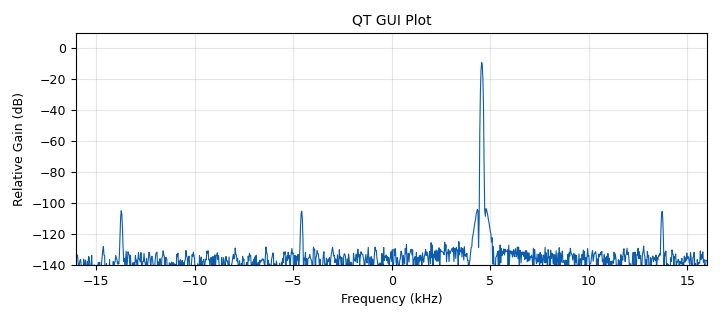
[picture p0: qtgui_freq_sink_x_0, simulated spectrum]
options:
  parameters:
    author: mettus
    category: Custom
    generate_options: qt_gui
    id: demo_two_tone
    output_language: python
  states: {}

blocks:
- name: beta
  id: variable_qtgui_range
  parameters:
    gui_hint: 4,0,1,1
    label: k3 (IP3)
    orient: QtCore.Qt.Orientation.Horizontal
    start: '-.1'
    step: '0.001'
    stop: '0'
    value: '0'
  states: {}
- name: const_size
  id: variable
  parameters:
    value: '4'
  states: {}
- name: f1
  id: variable_qtgui_range
  parameters:
    gui_hint: 2,0,1,1
    label: f1
    orient: QtCore.Qt.Orientation.Horizontal
    start: '-samp_rate/2'
    step: '1'
    stop: samp_rate/2
    value: samp_rate/7.0
  states: {}
- name: f2
  id: variable_qtgui_range
  parameters:
    gui_hint: 2,1,1,1
    label: f2
    orient: QtCore.Qt.Orientation.Horizontal
    start: '-samp_rate/2'
    step: '1'
    stop: samp_rate/2
    value: samp_rate/9.0
  states: {}
- name: gamma
  id: variable_qtgui_range
  parameters:
    gui_hint: 4,1,1,1
    label: k2 (IP2)
    orient: QtCore.Qt.Orientation.Horizontal
    start: '-.1'
    step: '0.001'
    stop: '0'
    value: '0'
  states: {}
- name: i_ofs
  id: variable_qtgui_range
  parameters:
    gui_hint: 5,0,1,1
    label: I offset
    orient: QtCore.Qt.Orientation.Horizontal
    start: '-1'
    step: '0.001'
    stop: '1'
    value: '0'
  states: {}
- name: magbal
  id: variable_qtgui_range
  parameters:
    gui_hint: 3,0,1,1
    label: IQ Magnitude Imbalance
    orient: QtCore.Qt.Orientation.Horizontal
    start: '0'
    step: '0.1'
    stop: '10'
    value: '0'
  states: {}
- name: phase_noise_mag
  id: variable_qtgui_range
  parameters:
    gui_hint: 1,1,1,1
    label: Phase Noise Mag (dB)
    orient: QtCore.Qt.Orientation.Horizontal
    start: '-100'
    step: '1'
    stop: '0'
    value: '-100'
  states: {}
- name: phasebal
  id: variable_qtgui_range
  parameters:
    gui_hint: 3,1,1,1
    label: IQ Phase Imbalance
    orient: QtCore.Qt.Orientation.Horizontal
    start: '0'
    step: '0.1'
    stop: '45'
    value: '0'
  states: {}
- name: q_ofs
  id: variable_qtgui_range
  parameters:
    gui_hint: 5,1,1,1
    label: Q offset
    orient: QtCore.Qt.Orientation.Horizontal
    start: '-1'
    step: '0.001'
    stop: '1'
    value: '0'
  states: {}
- name: samp_rate
  id: variable
  parameters:
    value: '32000'
  states: {}
- name: sig_amp
  id: variable_qtgui_range
  parameters:
    gui_hint: 1,0,1,1
    label: Signal Power (dB)
    orient: QtCore.Qt.Orientation.Horizontal
    start: '-100'
    step: '1'
    stop: '0'
    value: '0'
  states: {}
- name: twotones
  id: variable_qtgui_check_box
  parameters:
    'false': 'False'
    gui_hint: 0,0,1,1
    label: Two Tones?
    'true': 'True'
    type: bool
    value: 'False'
  states: {}
- name: analog_noise_source_x_0
  id: analog_noise_source_x
  parameters:
    amp: '.00001'
    noise_type: analog.GR_GAUSSIAN
    seed: '42'
    type: complex
  states: {}
- name: analog_sig_source_x_0
  id: analog_sig_source_x
  parameters:
    amp: pow(10,sig_amp/20.0)*twotones
    freq: f2
    offset: '0'
    phase: '0'
    samp_rate: samp_rate
    type: complex
    waveform: analog.GR_COS_WAVE
  states: {}
- name: analog_sig_source_x_1
  id: analog_sig_source_x
  parameters:
    amp: pow(10,sig_amp/20.0)
    freq: f1
    offset: '0'
    phase: '0'
    samp_rate: samp_rate
    type: complex
    waveform: analog.GR_COS_WAVE
  states: {}
- name: blocks_add_xx_0
  id: blocks_add_xx
  parameters:
    num_inputs: '3'
    type: complex
  states: {}
- name: blocks_throttle2_0
  id: blocks_throttle2
  parameters:
    samples_per_second: samp_rate
    type: complex
  states: {}
- name: channels_amp_bal_0
  id: channels_amp_bal
  parameters:
    alpha: '0.0001'
  states: {}
- name: channels_impairments_0
  id: channels_impairments
  parameters:
    beta: beta
    freq_offset: '0'
    gamma: gamma
    i_ofs: i_ofs
    magbal: magbal
    phase_noise_mag: phase_noise_mag
    phasebal: '0'
    q_ofs: q_ofs
  states: {}
- name: channels_phase_bal_0
  id: channels_phase_bal
  parameters:
    alpha: '0.00001'
  states: {state: disabled}
- name: import_0
  id: import
  parameters:
    imports: import math
  states: {}
- name: qtgui_freq_sink_x_0
  id: qtgui_freq_sink_x
  parameters:
    bw: samp_rate
    fc: '0'
    fftsize: '1024'
    gui_hint: 6,0,1,2
    name: QT GUI Plot
    showports: 'True'
    type: complex
  states: {}

connections:
- [analog_noise_source_x_0, '0', blocks_add_xx_0, '2']
- [analog_sig_source_x_0, '0', blocks_add_xx_0, '1']
- [analog_sig_source_x_1, '0', blocks_add_xx_0, '0']
- [blocks_add_xx_0, '0', blocks_throttle2_0, '0']
- [blocks_throttle2_0, '0', channels_impairments_0, '0']
- [channels_amp_bal_0, '0', qtgui_freq_sink_x_0, '0']
- [channels_impairments_0, '0', channels_amp_bal_0, '0']
- [channels_impairments_0, '0', channels_phase_bal_0, '0']
- [channels_phase_bal_0, '0', qtgui_freq_sink_x_0, '0']

metadata:
  file_format: 1
  grc_version: 3.10.10.0
